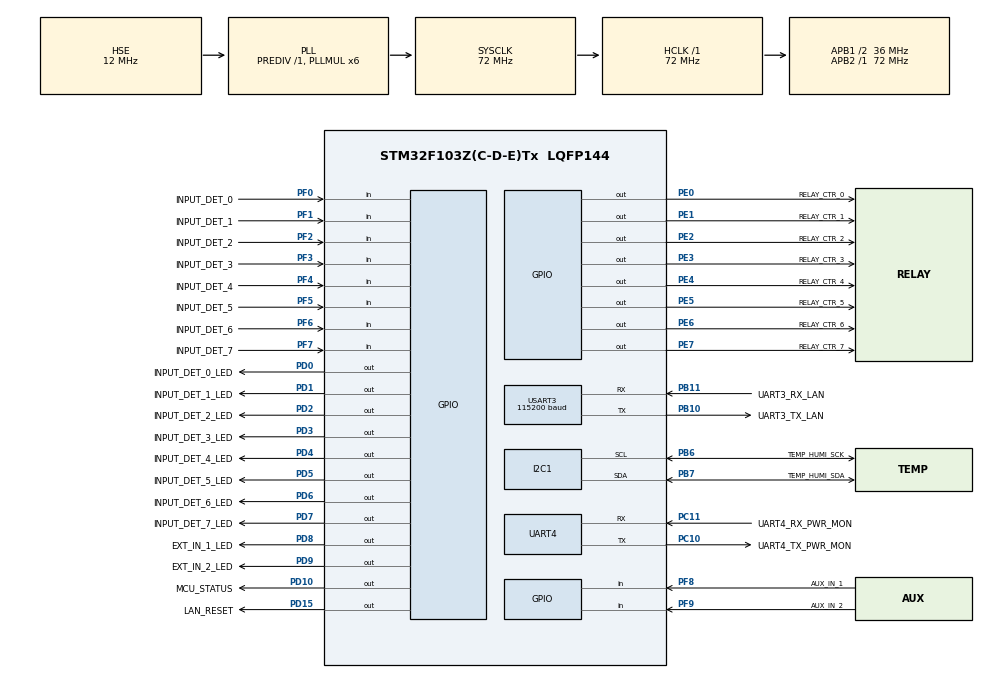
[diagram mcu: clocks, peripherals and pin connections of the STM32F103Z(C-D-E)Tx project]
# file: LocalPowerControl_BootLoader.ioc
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IWDG.Prescaler=IWDG_PRESCALER_256
IWDG.Reload=625
Mcu.Family=STM32F1
Mcu.Name=STM32F103Z(C-D-E)Tx
Mcu.Package=LQFP144
NVIC.PriorityGroup=NVIC_PRIORITYGROUP_4
NVIC.TIM2_IRQn=true\:0\:0\:false\:false\:true\:true\:true
NVIC.UART4_IRQn=true\:0\:0\:false\:false\:true\:true\:true
NVIC.USART3_IRQn=true\:0\:0\:false\:false\:true\:true\:true
OSC_IN.Mode=HSE-External-Oscillator
OSC_IN.Signal=RCC_OSC_IN
OSC_OUT.Mode=HSE-External-Oscillator
OSC_OUT.Signal=RCC_OSC_OUT
PA13.Mode=JTAG_5_pins
PA13.Signal=SYS_JTMS-SWDIO
PA14.Mode=JTAG_5_pins
PA14.Signal=SYS_JTCK-SWCLK
PA15.Mode=JTAG_5_pins
PA15.Signal=SYS_JTDI
PB10.GPIO_Label=UART3_TX_LAN
PB10.Mode=Asynchronous
PB10.Signal=USART3_TX
PB11.GPIO_Label=UART3_RX_LAN
PB11.Mode=Asynchronous
PB11.Signal=USART3_RX
PB3.Mode=JTAG_5_pins
PB3.Signal=SYS_JTDO-TRACESWO
PB4.Mode=JTAG_5_pins
PB4.Signal=SYS_NJTRST
PB6.GPIO_Label=TEMP_HUMI_SCK
PB6.Mode=I2C
PB6.Signal=I2C1_SCL
PB7.GPIO_Label=TEMP_HUMI_SDA
PB7.Mode=I2C
PB7.Signal=I2C1_SDA
PC10.GPIO_Label=UART4_TX_PWR_MON
PC10.Mode=Asynchronous
PC10.Signal=UART4_TX
PC11.GPIO_Label=UART4_RX_PWR_MON
PC11.Mode=Asynchronous
PC11.Signal=UART4_RX
PD0.GPIO_Label=INPUT_DET_0_LED
PD0.Signal=GPIO_Output
PD1.GPIO_Label=INPUT_DET_1_LED
PD1.Signal=GPIO_Output
PD10.GPIO_Label=MCU_STATUS
PD10.Signal=GPIO_Output
PD15.GPIO_Label=LAN_RESET
PD15.Signal=GPIO_Output
PD2.GPIO_Label=INPUT_DET_2_LED
PD2.Signal=GPIO_Output
PD3.GPIO_Label=INPUT_DET_3_LED
PD3.Signal=GPIO_Output
PD4.GPIO_Label=INPUT_DET_4_LED
PD4.Signal=GPIO_Output
PD5.GPIO_Label=INPUT_DET_5_LED
PD5.Signal=GPIO_Output
PD6.GPIO_Label=INPUT_DET_6_LED
PD6.Signal=GPIO_Output
PD7.GPIO_Label=INPUT_DET_7_LED
PD7.Signal=GPIO_Output
PD8.GPIO_Label=EXT_IN_1_LED
PD8.Signal=GPIO_Output
PD9.GPIO_Label=EXT_IN_2_LED
PD9.Signal=GPIO_Output
PE0.GPIO_Label=RELAY_CTR_0
PE0.Signal=GPIO_Output
PE1.GPIO_Label=RELAY_CTR_1
PE1.Signal=GPIO_Output
PE2.GPIO_Label=RELAY_CTR_2
PE2.Signal=GPIO_Output
PE3.GPIO_Label=RELAY_CTR_3
PE3.Signal=GPIO_Output
PE4.GPIO_Label=RELAY_CTR_4
PE4.Signal=GPIO_Output
PE5.GPIO_Label=RELAY_CTR_5
PE5.Signal=GPIO_Output
PE6.GPIO_Label=RELAY_CTR_6
PE6.Signal=GPIO_Output
PE7.GPIO_Label=RELAY_CTR_7
PE7.Signal=GPIO_Output
PF0.GPIO_Label=INPUT_DET_0
PF0.Signal=GPIO_Input
PF1.GPIO_Label=INPUT_DET_1
PF1.Signal=GPIO_Input
PF2.GPIO_Label=INPUT_DET_2
PF2.Signal=GPIO_Input
PF3.GPIO_Label=INPUT_DET_3
PF3.Signal=GPIO_Input
PF4.GPIO_Label=INPUT_DET_4
PF4.Signal=GPIO_Input
PF5.GPIO_Label=INPUT_DET_5
PF5.Signal=GPIO_Input
PF6.GPIO_Label=INPUT_DET_6
PF6.Signal=GPIO_Input
PF7.GPIO_Label=INPUT_DET_7
PF7.Signal=GPIO_Input
PF8.GPIO_Label=AUX_IN_1
PF8.Signal=GPIO_Input
PF9.GPIO_Label=AUX_IN_2
PF9.Signal=GPIO_Input
ProjectManager.HeapSize=0x200
ProjectManager.StackSize=0x400
ProjectManager.TargetToolchain=EWARM V7
RCC.AHBFreq_Value=72000000
RCC.APB1CLKDivider=RCC_HCLK_DIV2
RCC.APB1Freq_Value=36000000
RCC.APB1TimFreq_Value=72000000
RCC.APB2Freq_Value=72000000
RCC.APB2TimFreq_Value=72000000
RCC.HCLKFreq_Value=72000000
RCC.HSE_VALUE=12000000
RCC.PLLMUL=RCC_PLL_MUL6
RCC.PLLSourceVirtual=RCC_PLLSOURCE_HSE
RCC.RCC_MCOSource=RCC_MCO1SOURCE_PLLCLK
RCC.SYSCLKFreq_VALUE=72000000
RCC.SYSCLKSource=RCC_SYSCLKSOURCE_PLLCLK
RCC.USBFreq_Value=72000000
TIM2.AutoReloadPreload=TIM_AUTORELOAD_PRELOAD_DISABLE
TIM2.Period=999
TIM2.Prescaler=72
UART4.VirtualMode=Asynchronous
USART3.BaudRate=115200
USART3.VirtualMode=VM_ASYNC
VP_IWDG_VS_IWDG.Mode=IWDG_Activate
VP_TIM2_VS_ClockSourceINT.Mode=Internal
board=custom

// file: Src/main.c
/* USER CODE BEGIN Header */
/**
  ******************************************************************************
  * @file           : main.c
  * @brief          : Main program body
  ******************************************************************************
  * @attention
  *
  * <h2><center>&copy; Copyright (c) 2019 STMicroelectronics.
  * All rights reserved.</center></h2>
  *
  * This software component is licensed by ST under BSD 3-Clause license,
  * the "License"; You may not use this file except in compliance with the
  * License. You may obtain a copy of the License at:
  *                        opensource.org/licenses/BSD-3-Clause
  *
  ******************************************************************************
  */
/* USER CODE END Header */

#include "main.h"

/* USER CODE BEGIN Includes */
#include "flash_if.h"
#include "eeprom.h"
/* USER CODE END Includes */

I2C_HandleTypeDef hi2c1;

IWDG_HandleTypeDef hiwdg;

TIM_HandleTypeDef htim2;

UART_HandleTypeDef huart4;
UART_HandleTypeDef huart3;

/* USER CODE BEGIN PV */
unsigned int Timer1ms;
unsigned int TimerJumpToApp;
unsigned int TimerRefreshIwdg;
unsigned int TimerInputScan;
unsigned int TimerMcuStatusLed;
unsigned int TimerUart3Parsing;
unsigned int TimeOutValue_JumpToApp;
pFunction JumpToApplication;
unsigned int JumpAddress;
unsigned char McuStatusLedState;
unsigned char Uart3TxBuf[UART3_TX_BUF_SIZE];
unsigned char Uart3RxBuf[UART3_RX_BUF_SIZE];
unsigned short Uart3RxWrCnt;
unsigned short Uart3RxRdCnt;
unsigned char Uart3RxData;
unsigned char Uart3ParsingState;
unsigned short Uart3Cks;
unsigned short Uart3DataLength;
unsigned short Uart3DataCnt;
unsigned char Uart3Cmd;
unsigned char Uart3DataBuf[UART3_DATA_BUF_SIZE];
unsigned char ChannelRelayState;
unsigned char InputScanState;
unsigned int InputOld;
unsigned int InputNow;

const unsigned short Crc16Table[256] = {
	0x0000,0x1021,0x2042,0x3063,0x4084,0x50a5,0x60c6,0x70e7,
	0x8108,0x9129,0xa14a,0xb16b,0xc18c,0xd1ad,0xe1ce,0xf1ef,
	0x1231,0x0210,0x3273,0x2252,0x52b5,0x4294,0x72f7,0x62d6,
	0x9339,0x8318,0xb37b,0xa35a,0xd3bd,0xc39c,0xf3ff,0xe3de,
	0x2462,0x3443,0x0420,0x1401,0x64e6,0x74c7,0x44a4,0x5485,
	0xa56a,0xb54b,0x8528,0x9509,0xe5ee,0xf5cf,0xc5ac,0xd58d,
	0x3653,0x2672,0x1611,0x0630,0x76d7,0x66f6,0x5695,0x46b4,
	0xb75b,0xa77a,0x9719,0x8738,0xf7df,0xe7fe,0xd79d,0xc7bc,
	0x48c4,0x58e5,0x6886,0x78a7,0x0840,0x1861,0x2802,0x3823,
	0xc9cc,0xd9ed,0xe98e,0xf9af,0x8948,0x9969,0xa90a,0xb92b,
	0x5af5,0x4ad4,0x7ab7,0x6a96,0x1a71,0x0a50,0x3a33,0x2a12,
	0xdbfd,0xcbdc,0xfbbf,0xeb9e,0x9b79,0x8b58,0xbb3b,0xab1a,
	0x6ca6,0x7c87,0x4ce4,0x5cc5,0x2c22,0x3c03,0x0c60,0x1c41,
	0xedae,0xfd8f,0xcdec,0xddcd,0xad2a,0xbd0b,0x8d68,0x9d49,
	0x7e97,0x6eb6,0x5ed5,0x4ef4,0x3e13,0x2e32,0x1e51,0x0e70,
	0xff9f,0xefbe,0xdfdd,0xcffc,0xbf1b,0xaf3a,0x9f59,0x8f78,
	0x9188,0x81a9,0xb1ca,0xa1eb,0xd10c,0xc12d,0xf14e,0xe16f,
	0x1080,0x00a1,0x30c2,0x20e3,0x5004,0x4025,0x7046,0x6067,
	0x83b9,0x9398,0xa3fb,0xb3da,0xc33d,0xd31c,0xe37f,0xf35e,
	0x02b1,0x1290,0x22f3,0x32d2,0x4235,0x5214,0x6277,0x7256,
	0xb5ea,0xa5cb,0x95a8,0x8589,0xf56e,0xe54f,0xd52c,0xc50d,
	0x34e2,0x24c3,0x14a0,0x0481,0x7466,0x6447,0x5424,0x4405,
	0xa7db,0xb7fa,0x8799,0x97b8,0xe75f,0xf77e,0xc71d,0xd73c,
	0x26d3,0x36f2,0x0691,0x16b0,0x6657,0x7676,0x4615,0x5634,
	0xd94c,0xc96d,0xf90e,0xe92f,0x99c8,0x89e9,0xb98a,0xa9ab,
	0x5844,0x4865,0x7806,0x6827,0x18c0,0x08e1,0x3882,0x28a3,
	0xcb7d,0xdb5c,0xeb3f,0xfb1e,0x8bf9,0x9bd8,0xabbb,0xbb9a,
	0x4a75,0x5a54,0x6a37,0x7a16,0x0af1,0x1ad0,0x2ab3,0x3a92,
	0xfd2e,0xed0f,0xdd6c,0xcd4d,0xbdaa,0xad8b,0x9de8,0x8dc9,
	0x7c26,0x6c07,0x5c64,0x4c45,0x3ca2,0x2c83,0x1ce0,0x0cc1,
	0xef1f,0xff3e,0xcf5d,0xdf7c,0xaf9b,0xbfba,0x8fd9,0x9ff8,
	0x6e17,0x7e36,0x4e55,0x5e74,0x2e93,0x3eb2,0x0ed1,0x1ef0
};
unsigned short VirtAddVarTab[NB_OF_VAR] = {
	0x0000,0x0001,0x0002,0x0003,0x0004,0x0005,0x0006,0x0007,0x0008,0x0009,0x000A,0x000B,0x000C,0x000D,0x000E,0x000F,	// 00~15 (for BootLoader)
	0x0010,0x0011,0x0012,0x0013,0x0014,0x0015,0x0016,0x0017,0x0018,0x0019,0x001A,0x001B,0x001C,0x001D,0x001E,0x001F,	// 16~31 (for App)
	0x0020,0x0021,0x0022,0x0023,0x0024,0x0025,0x0026,0x0027,0x0028,0x0029,0x002A,0x002B,0x002C,0x002D,0x002E,0x002F,	// 32~47 (for App)
	0x0030,0x0031,0x0032,0x0033,0x0034,0x0035,0x0036,0x0037,0x0038,0x0039,0x003A,0x003B,0x003C,0x003D,0x003E,0x003F,	// 48~63 (for App)
};
unsigned short VarDataTab[NB_OF_VAR] = {
	0x1234,0,0,0,0,RELAY_OFF,0,
};
unsigned short VarValue = 0;
/* USER CODE END PV */

void SystemClock_Config(void);
static void MX_GPIO_Init(void);
static void MX_IWDG_Init(void);
static void MX_UART4_Init(void);
static void MX_USART3_UART_Init(void);
static void MX_I2C1_Init(void);
static void MX_TIM2_Init(void);
/* USER CODE BEGIN PFP */
void Eeprom_Check_Init(void);
unsigned short Eeprom_Read(unsigned short Addr);
unsigned short Eeprom_Write(unsigned short Addr, unsigned short Value);
void JumpToAppMain(void);
void CheckJumpApp(void);
void Channel_Relay_Cont(unsigned char Channel, GPIO_PinState OnOff);
void Refresh_IWDG(void);
void Led_All_Cont(void);
unsigned short Calculation_Crc16(unsigned char*Buf, unsigned int Length);
void Input_Scan(void);
void MCU_Status_Led_Cont(void);
void Send_BoardToPc_WithCks(unsigned char* pBuf, unsigned short Length);
void BoardToPC_AnsReset(void);
void BoardToPC_AnsJumpToApp(void);
void Uart3_Parsing(void);
/* USER CODE END PFP */

/* USER CODE BEGIN 0 */
void HAL_TIM_PeriodElapsedCallback(TIM_HandleTypeDef *htim)
{
	if(TimerJumpToApp)
	{
		TimerJumpToApp--;
	}
	if(TimerRefreshIwdg)
	{
		TimerRefreshIwdg--;
	}
	if(TimerInputScan)
	{
		TimerInputScan--;
	}
	if(TimerMcuStatusLed)
	{
		TimerMcuStatusLed--;
	}
	if(TimerUart3Parsing)
	{
		TimerUart3Parsing--;
	}
	if(Timer1ms)
	{
		Timer1ms--;
		if(Timer1ms==0)
		{
			Timer1ms = 1000;
		}
	}
}

void HAL_UART_RxCpltCallback(UART_HandleTypeDef *huart)
{
	if(huart->Instance==USART3)
	{
		Uart3RxBuf[Uart3RxWrCnt] = Uart3RxData;
		HAL_UART_Receive_IT(&huart3, &Uart3RxData, 1);
		Uart3RxWrCnt++;
		if(Uart3RxWrCnt==UART3_RX_BUF_SIZE)
		{
			Uart3RxWrCnt = 0;
		}
	}
}
/* USER CODE END 0 */

int main(void)
{

  /* MCU Configuration--------------------------------------------------------*/

  /* Reset of all peripherals, Initializes the Flash interface and the Systick. */
  HAL_Init();

  /* Configure the system clock */
  SystemClock_Config();

  /* USER CODE BEGIN SysInit */
	Eeprom_Check_Init();
	if(Eeprom_Read(EEPROM_IDX_UPDATE_RSLT)==0 && Eeprom_Read(EEPROM_IDX_RESET_REQ)==0)
	{
		JumpToAppMain();
	}
  /* USER CODE END SysInit */

  /* Initialize all configured peripherals */
  MX_GPIO_Init();
  MX_IWDG_Init();
  MX_UART4_Init();
  MX_USART3_UART_Init();
  MX_I2C1_Init();
  MX_TIM2_Init();
  /* USER CODE BEGIN 2 */
	HAL_TIM_Base_Start_IT(&htim2);
  	HAL_UART_Receive_IT(&huart3, &Uart3RxData, 1);
	if(Eeprom_Read(EEPROM_IDX_RESET_REQ)==1)	// Reset from App
	{
		TimeOutValue_JumpToApp = Eeprom_Read(EEPROM_IDX_JUMP_TO_APP_TIMEOUT);
		TimeOutValue_JumpToApp *= 1000;
		Eeprom_Write(EEPROM_IDX_JUMP_TO_APP_TIMEOUT, 0);
		Eeprom_Write(EEPROM_IDX_RESET_REQ, 0);
		BoardToPC_AnsReset();
	}
	else	// Emergency Mode
	{
		TimeOutValue_JumpToApp = 1200000;	// 1200 x 1000ms = 20minute
	}
	TimerJumpToApp = TimeOutValue_JumpToApp;
	ChannelRelayState = Eeprom_Read(EEPROM_IDX_CHANNEL_RELAY_STATUS);
	Channel_Relay_Cont(ChannelRelayState, GPIO_PIN_SET);
	Channel_Relay_Cont(~ChannelRelayState, GPIO_PIN_RESET);
	Led_All_Cont();
  /* USER CODE END 2 */

  /* Infinite loop */
  /* USER CODE BEGIN WHILE */
  while (1)
  {
	Refresh_IWDG();
	CheckJumpApp();
	Led_All_Cont();
	Uart3_Parsing();
    /* USER CODE END WHILE */

  }
}

void SystemClock_Config(void)
{
  RCC_OscInitTypeDef RCC_OscInitStruct = {0};
  RCC_ClkInitTypeDef RCC_ClkInitStruct = {0};

  /** Initializes the CPU, AHB and APB busses clocks
  */
  RCC_OscInitStruct.OscillatorType = RCC_OSCILLATORTYPE_LSI|RCC_OSCILLATORTYPE_HSE;
  RCC_OscInitStruct.HSEState = RCC_HSE_ON;
  RCC_OscInitStruct.HSEPredivValue = RCC_HSE_PREDIV_DIV1;
  RCC_OscInitStruct.HSIState = RCC_HSI_ON;
  RCC_OscInitStruct.LSIState = RCC_LSI_ON;
  RCC_OscInitStruct.PLL.PLLState = RCC_PLL_ON;
  RCC_OscInitStruct.PLL.PLLSource = RCC_PLLSOURCE_HSE;
  RCC_OscInitStruct.PLL.PLLMUL = RCC_PLL_MUL6;
  if (HAL_RCC_OscConfig(&RCC_OscInitStruct) != HAL_OK)
  {
    Error_Handler();
  }
  /** Initializes the CPU, AHB and APB busses clocks
  */
  RCC_ClkInitStruct.ClockType = RCC_CLOCKTYPE_HCLK|RCC_CLOCKTYPE_SYSCLK
                              |RCC_CLOCKTYPE_PCLK1|RCC_CLOCKTYPE_PCLK2;
  RCC_ClkInitStruct.SYSCLKSource = RCC_SYSCLKSOURCE_PLLCLK;
  RCC_ClkInitStruct.AHBCLKDivider = RCC_SYSCLK_DIV1;
  RCC_ClkInitStruct.APB1CLKDivider = RCC_HCLK_DIV2;
  RCC_ClkInitStruct.APB2CLKDivider = RCC_HCLK_DIV1;

  if (HAL_RCC_ClockConfig(&RCC_ClkInitStruct, FLASH_LATENCY_2) != HAL_OK)
  {
    Error_Handler();
  }
}

static void MX_I2C1_Init(void)
{

  hi2c1.Instance = I2C1;
  hi2c1.Init.ClockSpeed = 100000;
  hi2c1.Init.DutyCycle = I2C_DUTYCYCLE_2;
  hi2c1.Init.OwnAddress1 = 0;
  hi2c1.Init.AddressingMode = I2C_ADDRESSINGMODE_7BIT;
  hi2c1.Init.DualAddressMode = I2C_DUALADDRESS_DISABLE;
  hi2c1.Init.OwnAddress2 = 0;
  hi2c1.Init.GeneralCallMode = I2C_GENERALCALL_DISABLE;
  hi2c1.Init.NoStretchMode = I2C_NOSTRETCH_DISABLE;
  if (HAL_I2C_Init(&hi2c1) != HAL_OK)
  {
    Error_Handler();
  }

}

static void MX_IWDG_Init(void)
{

  hiwdg.Instance = IWDG;
  hiwdg.Init.Prescaler = IWDG_PRESCALER_256;
  hiwdg.Init.Reload = 625;
  if (HAL_IWDG_Init(&hiwdg) != HAL_OK)
  {
    Error_Handler();
  }

}

static void MX_TIM2_Init(void)
{

  TIM_ClockConfigTypeDef sClockSourceConfig = {0};
  TIM_MasterConfigTypeDef sMasterConfig = {0};

  htim2.Instance = TIM2;
  htim2.Init.Prescaler = 72;
  htim2.Init.CounterMode = TIM_COUNTERMODE_UP;
  htim2.Init.Period = 999;
  htim2.Init.ClockDivision = TIM_CLOCKDIVISION_DIV1;
  htim2.Init.AutoReloadPreload = TIM_AUTORELOAD_PRELOAD_DISABLE;
  if (HAL_TIM_Base_Init(&htim2) != HAL_OK)
  {
    Error_Handler();
  }
  sClockSourceConfig.ClockSource = TIM_CLOCKSOURCE_INTERNAL;
  if (HAL_TIM_ConfigClockSource(&htim2, &sClockSourceConfig) != HAL_OK)
  {
    Error_Handler();
  }
  sMasterConfig.MasterOutputTrigger = TIM_TRGO_RESET;
  sMasterConfig.MasterSlaveMode = TIM_MASTERSLAVEMODE_DISABLE;
  if (HAL_TIMEx_MasterConfigSynchronization(&htim2, &sMasterConfig) != HAL_OK)
  {
    Error_Handler();
  }

}

static void MX_UART4_Init(void)
{

  huart4.Instance = UART4;
  huart4.Init.BaudRate = 115200;
  huart4.Init.WordLength = UART_WORDLENGTH_8B;
  huart4.Init.StopBits = UART_STOPBITS_1;
  huart4.Init.Parity = UART_PARITY_NONE;
  huart4.Init.Mode = UART_MODE_TX_RX;
  huart4.Init.HwFlowCtl = UART_HWCONTROL_NONE;
  huart4.Init.OverSampling = UART_OVERSAMPLING_16;
  if (HAL_UART_Init(&huart4) != HAL_OK)
  {
    Error_Handler();
  }

}

static void MX_USART3_UART_Init(void)
{

  huart3.Instance = USART3;
  huart3.Init.BaudRate = 115200;
  huart3.Init.WordLength = UART_WORDLENGTH_8B;
  huart3.Init.StopBits = UART_STOPBITS_1;
  huart3.Init.Parity = UART_PARITY_NONE;
  huart3.Init.Mode = UART_MODE_TX_RX;
  huart3.Init.HwFlowCtl = UART_HWCONTROL_NONE;
  huart3.Init.OverSampling = UART_OVERSAMPLING_16;
  if (HAL_UART_Init(&huart3) != HAL_OK)
  {
    Error_Handler();
  }

}

static void MX_GPIO_Init(void)
{
  GPIO_InitTypeDef GPIO_InitStruct = {0};

  /* GPIO Ports Clock Enable */
  __HAL_RCC_GPIOE_CLK_ENABLE();
  __HAL_RCC_GPIOC_CLK_ENABLE();
  __HAL_RCC_GPIOF_CLK_ENABLE();
  __HAL_RCC_GPIOA_CLK_ENABLE();
  __HAL_RCC_GPIOB_CLK_ENABLE();
  __HAL_RCC_GPIOG_CLK_ENABLE();
  __HAL_RCC_GPIOD_CLK_ENABLE();

  /*Configure GPIO pin Output Level */
  HAL_GPIO_WritePin(GPIOE, RELAY_CTR_2_Pin|RELAY_CTR_3_Pin|RELAY_CTR_4_Pin|RELAY_CTR_5_Pin
                          |RELAY_CTR_6_Pin|RELAY_CTR_7_Pin|RELAY_CTR_0_Pin|RELAY_CTR_1_Pin, GPIO_PIN_RESET);

  /*Configure GPIO pin Output Level */
  HAL_GPIO_WritePin(GPIOD, EXT_IN_1_LED_Pin|EXT_IN_2_LED_Pin|MCU_STATUS_Pin|LAN_RESET_Pin
                          |INPUT_DET_0_LED_Pin|INPUT_DET_1_LED_Pin|INPUT_DET_2_LED_Pin|INPUT_DET_3_LED_Pin
                          |INPUT_DET_4_LED_Pin|INPUT_DET_5_LED_Pin|INPUT_DET_6_LED_Pin|INPUT_DET_7_LED_Pin, GPIO_PIN_RESET);

  /*Configure GPIO pins : RELAY_CTR_2_Pin RELAY_CTR_3_Pin RELAY_CTR_4_Pin RELAY_CTR_5_Pin
                           RELAY_CTR_6_Pin RELAY_CTR_7_Pin RELAY_CTR_0_Pin RELAY_CTR_1_Pin */
  GPIO_InitStruct.Pin = RELAY_CTR_2_Pin|RELAY_CTR_3_Pin|RELAY_CTR_4_Pin|RELAY_CTR_5_Pin
                          |RELAY_CTR_6_Pin|RELAY_CTR_7_Pin|RELAY_CTR_0_Pin|RELAY_CTR_1_Pin;
  GPIO_InitStruct.Mode = GPIO_MODE_OUTPUT_PP;
  GPIO_InitStruct.Pull = GPIO_NOPULL;
  GPIO_InitStruct.Speed = GPIO_SPEED_FREQ_LOW;
  HAL_GPIO_Init(GPIOE, &GPIO_InitStruct);

  /*Configure GPIO pins : PC13 PC14 PC15 PC0
                           PC1 PC2 PC3 PC4
                           PC5 PC6 PC7 PC8
                           PC9 PC12 */
  GPIO_InitStruct.Pin = GPIO_PIN_13|GPIO_PIN_14|GPIO_PIN_15|GPIO_PIN_0
                          |GPIO_PIN_1|GPIO_PIN_2|GPIO_PIN_3|GPIO_PIN_4
                          |GPIO_PIN_5|GPIO_PIN_6|GPIO_PIN_7|GPIO_PIN_8
                          |GPIO_PIN_9|GPIO_PIN_12;
  GPIO_InitStruct.Mode = GPIO_MODE_ANALOG;
  HAL_GPIO_Init(GPIOC, &GPIO_InitStruct);

  /*Configure GPIO pins : INPUT_DET_0_Pin INPUT_DET_1_Pin INPUT_DET_2_Pin INPUT_DET_3_Pin
                           INPUT_DET_4_Pin INPUT_DET_5_Pin INPUT_DET_6_Pin INPUT_DET_7_Pin
                           AUX_IN_1_Pin AUX_IN_2_Pin */
  GPIO_InitStruct.Pin = INPUT_DET_0_Pin|INPUT_DET_1_Pin|INPUT_DET_2_Pin|INPUT_DET_3_Pin
                          |INPUT_DET_4_Pin|INPUT_DET_5_Pin|INPUT_DET_6_Pin|INPUT_DET_7_Pin
                          |AUX_IN_1_Pin|AUX_IN_2_Pin;
  GPIO_InitStruct.Mode = GPIO_MODE_INPUT;
  GPIO_InitStruct.Pull = GPIO_NOPULL;
  HAL_GPIO_Init(GPIOF, &GPIO_InitStruct);

  /*Configure GPIO pins : PF10 PF11 PF12 PF13
                           PF14 PF15 */
  GPIO_InitStruct.Pin = GPIO_PIN_10|GPIO_PIN_11|GPIO_PIN_12|GPIO_PIN_13
                          |GPIO_PIN_14|GPIO_PIN_15;
  GPIO_InitStruct.Mode = GPIO_MODE_ANALOG;
  HAL_GPIO_Init(GPIOF, &GPIO_InitStruct);

  /*Configure GPIO pins : PA0 PA1 PA2 PA3
                           PA4 PA5 PA6 PA7
                           PA8 PA9 PA10 PA11
                           PA12 */
  GPIO_InitStruct.Pin = GPIO_PIN_0|GPIO_PIN_1|GPIO_PIN_2|GPIO_PIN_3
                          |GPIO_PIN_4|GPIO_PIN_5|GPIO_PIN_6|GPIO_PIN_7
                          |GPIO_PIN_8|GPIO_PIN_9|GPIO_PIN_10|GPIO_PIN_11
                          |GPIO_PIN_12;
  GPIO_InitStruct.Mode = GPIO_MODE_ANALOG;
  HAL_GPIO_Init(GPIOA, &GPIO_InitStruct);

  /*Configure GPIO pins : PB0 PB1 PB2 PB12
                           PB13 PB14 PB15 PB5
                           PB8 PB9 */
  GPIO_InitStruct.Pin = GPIO_PIN_0|GPIO_PIN_1|GPIO_PIN_2|GPIO_PIN_12
                          |GPIO_PIN_13|GPIO_PIN_14|GPIO_PIN_15|GPIO_PIN_5
                          |GPIO_PIN_8|GPIO_PIN_9;
  GPIO_InitStruct.Mode = GPIO_MODE_ANALOG;
  HAL_GPIO_Init(GPIOB, &GPIO_InitStruct);

  /*Configure GPIO pins : PG0 PG1 PG2 PG3
                           PG4 PG5 PG6 PG7
                           PG8 PG9 PG10 PG11
                           PG12 PG13 PG14 PG15 */
  GPIO_InitStruct.Pin = GPIO_PIN_0|GPIO_PIN_1|GPIO_PIN_2|GPIO_PIN_3
                          |GPIO_PIN_4|GPIO_PIN_5|GPIO_PIN_6|GPIO_PIN_7
                          |GPIO_PIN_8|GPIO_PIN_9|GPIO_PIN_10|GPIO_PIN_11
                          |GPIO_PIN_12|GPIO_PIN_13|GPIO_PIN_14|GPIO_PIN_15;
  GPIO_InitStruct.Mode = GPIO_MODE_ANALOG;
  HAL_GPIO_Init(GPIOG, &GPIO_InitStruct);

  /*Configure GPIO pins : PE8 PE9 PE10 PE11
                           PE12 PE13 PE14 PE15 */
  GPIO_InitStruct.Pin = GPIO_PIN_8|GPIO_PIN_9|GPIO_PIN_10|GPIO_PIN_11
                          |GPIO_PIN_12|GPIO_PIN_13|GPIO_PIN_14|GPIO_PIN_15;
  GPIO_InitStruct.Mode = GPIO_MODE_ANALOG;
  HAL_GPIO_Init(GPIOE, &GPIO_InitStruct);

  /*Configure GPIO pins : EXT_IN_1_LED_Pin EXT_IN_2_LED_Pin MCU_STATUS_Pin LAN_RESET_Pin
                           INPUT_DET_0_LED_Pin INPUT_DET_1_LED_Pin INPUT_DET_2_LED_Pin INPUT_DET_3_LED_Pin
                           INPUT_DET_4_LED_Pin INPUT_DET_5_LED_Pin INPUT_DET_6_LED_Pin INPUT_DET_7_LED_Pin */
  GPIO_InitStruct.Pin = EXT_IN_1_LED_Pin|EXT_IN_2_LED_Pin|MCU_STATUS_Pin|LAN_RESET_Pin
                          |INPUT_DET_0_LED_Pin|INPUT_DET_1_LED_Pin|INPUT_DET_2_LED_Pin|INPUT_DET_3_LED_Pin
                          |INPUT_DET_4_LED_Pin|INPUT_DET_5_LED_Pin|INPUT_DET_6_LED_Pin|INPUT_DET_7_LED_Pin;
  GPIO_InitStruct.Mode = GPIO_MODE_OUTPUT_PP;
  GPIO_InitStruct.Pull = GPIO_NOPULL;
  GPIO_InitStruct.Speed = GPIO_SPEED_FREQ_LOW;
  HAL_GPIO_Init(GPIOD, &GPIO_InitStruct);

  /*Configure GPIO pins : PD11 PD12 PD13 PD14 */
  GPIO_InitStruct.Pin = GPIO_PIN_11|GPIO_PIN_12|GPIO_PIN_13|GPIO_PIN_14;
  GPIO_InitStruct.Mode = GPIO_MODE_ANALOG;
  HAL_GPIO_Init(GPIOD, &GPIO_InitStruct);

}

/* USER CODE BEGIN 4 */
void Eeprom_Check_Init(void)
{
	unsigned char Cnt = 0;
	unsigned short Ret = 0;

	HAL_FLASH_Unlock();
	EE_Init();
	Ret = EE_ReadVariable(EEPROM_IDX_EEPROM_INIT_FLAG, &VarValue);	// EEPROM Addr0 is for EEPROM Initialization
	switch(Ret)
	{
		case 0x0000:	// Variable was found
			if(VarValue != 0x1234)	// EEPROM Address is not initialized
			{	// Initialize EEPROM Address
				for(Cnt=0; Cnt<NB_OF_VAR; Cnt++)
				{
					Eeprom_Write(Cnt, VarDataTab[Cnt]);
				}
			}
			break;
		case 0x0001:	// Variable was not found
			for(Cnt=0; Cnt<NB_OF_VAR; Cnt++)
			{	// Initialize EEPROM Address
				Eeprom_Write(Cnt, VarDataTab[Cnt]);
			}
			break;
		case NO_VALID_PAGE:
			break;
	}
}

unsigned short Eeprom_Read(unsigned short Addr)
{
	unsigned short Val;

	EE_ReadVariable(Addr, &Val);
	return Val;
}

unsigned short Eeprom_Write(unsigned short Addr, unsigned short Value)
{
	unsigned short Ret = 0;

	if(Eeprom_Read(Addr) != Value)
	{
		HAL_FLASH_Unlock();
		Ret = EE_WriteVariable(Addr, Value);
		HAL_FLASH_Lock();
	}

	return Ret;
}

void JumpToAppMain(void)
{
	/* Jump to user application */
	JumpAddress = *(__IO uint32_t*) (APP_MAIN_ADDR+ 4);
	JumpToApplication = (pFunction) JumpAddress;
	/* Initialize user application's Stack Pointer */
	__set_MSP(*(__IO uint32_t*)APP_MAIN_ADDR);
	JumpToApplication();
}

void CheckJumpApp(void)
{
	if(TimerJumpToApp==0)
	{
		JumpToAppMain();
	}
}

void Channel_Relay_Cont(unsigned char Channel, GPIO_PinState OnOff)
{
	if(OnOff==RELAY_ON)	// Channel Power On(Relay Off)
	{
		HAL_GPIO_WritePin(RELAY_CTR_0_GPIO_Port, Channel, GPIO_PIN_RESET);
	}
	else	// Channel Power Off(Relay On)
	{
		HAL_GPIO_WritePin(RELAY_CTR_0_GPIO_Port, Channel, GPIO_PIN_SET);
	}
}

void Led_Cont(unsigned char Led, GPIO_PinState OnOff)
{
	HAL_GPIO_WritePin(INPUT_DET_0_LED_GPIO_Port, Led, OnOff);
}

void Refresh_IWDG(void)
{
	if(TimerRefreshIwdg==0)
	{
		HAL_IWDG_Refresh(&hiwdg);
		TimerRefreshIwdg = REFRESH_IWDG_TIMEOUT;
	}
}

void Led_All_Cont(void)
{
	if(TimerMcuStatusLed==0)
	{
		if(McuStatusLedState==0)
		{
			HAL_GPIO_WritePin(MCU_STATUS_GPIO_Port, MCU_STATUS_Pin, GPIO_PIN_SET);
			McuStatusLedState = 1;
		}
		else
		{
			HAL_GPIO_WritePin(MCU_STATUS_GPIO_Port, MCU_STATUS_Pin, GPIO_PIN_RESET);
			McuStatusLedState = 0;
		}
		TimerMcuStatusLed = 250;
	}
}

unsigned short Calculation_Crc16(unsigned char*Buf, unsigned int Length)
{
	unsigned int Cnt;
	unsigned short Crc = 0;

	for( Cnt = 0; Cnt < Length; Cnt++)
	{
		Crc = (Crc<<8) ^ Crc16Table[((Crc>>8) ^ *Buf)&0x00FF];
		Buf++;
	}

	return Crc;
}

void Send_BoardToPc_WithCks(unsigned char* pBuf, unsigned short Length)
{
	unsigned short Cnt = 0;
	unsigned short CheckSum = 0;

	pBuf[0] = STX_BOARD_TO_PC;
	pBuf[1] = PC_ADDR;
	pBuf[2] = BOARD_ADDR;
	*(unsigned short*)(pBuf+3) = Length;
	for(Cnt=0; Cnt<(Length+6); Cnt++)
	{
		CheckSum += pBuf[Cnt];
	}
	*(unsigned short*)(pBuf+Length+6) = CheckSum;
	pBuf[Length+8] = END_BOARD_TO_PC;

	HAL_UART_Transmit(&huart3, pBuf, Length+9, 100);
}

void BoardToPC_AnsReset(void)
{
	Uart3TxBuf[5] = BOARD_TO_PC_ANS_RESET;
	Uart3TxBuf[6] = 0;
	Send_BoardToPc_WithCks(Uart3TxBuf, 1);
}

void Uart3_Parsing(void)
{
	if(Uart3RxRdCnt != Uart3RxWrCnt)
	{
		unsigned char Rx3Data = 0;

		Rx3Data = Uart3RxBuf[Uart3RxRdCnt];
		switch(Uart3ParsingState)
		{
			case 0:	// STX
				if(Rx3Data==0x7E)
				{
					Uart3Cks = 0;
					Uart3Cks += Rx3Data;
					Uart3ParsingState++;
					TimerUart3Parsing = UART3_PARSING_TIMEOUT;
				}
				break;
			case 1:	// DA(Destination Addr)
				if(Rx3Data==BOARD_ADDR)
				{
					Uart3Cks += Rx3Data;
					Uart3ParsingState++;
					TimerUart3Parsing = UART3_PARSING_TIMEOUT;
				}
				else
				{
					Uart3ParsingState = 0;
					TimerUart3Parsing = 0;
				}
				break;
			case 2:	// SA(Source Addr)
				if(Rx3Data==PC_ADDR)
				{
					Uart3Cks += Rx3Data;
					Uart3ParsingState++;
					TimerUart3Parsing = UART3_PARSING_TIMEOUT;
				}
				else
				{
					Uart3ParsingState = 0;
					TimerUart3Parsing = 0;
				}
				break;
			case 3:	// Length(LSB)
				Uart3DataLength = Rx3Data;
				Uart3Cks += Rx3Data;
				Uart3ParsingState++;
				TimerUart3Parsing = UART3_PARSING_TIMEOUT;
				break;
			case 4:	// Length(MSB)
				Uart3DataLength |= (unsigned short)Rx3Data << 8;
				Uart3Cks += Rx3Data;
				Uart3ParsingState++;
				TimerUart3Parsing = UART3_PARSING_TIMEOUT;
				break;
			case 5:	// Cmd
				if(Rx3Data >= 0xA0 && Rx3Data <= 0xAF)
				{
					Uart3Cmd = Rx3Data;
					Uart3DataCnt = 0;
					Uart3Cks += Rx3Data;
					Uart3ParsingState++;
					TimerUart3Parsing = UART3_PARSING_TIMEOUT;
				}
				else
				{
					Uart3ParsingState = 0;
					TimerUart3Parsing = 0;
				}
				break;
			case 6:	// Data
				Uart3DataBuf[Uart3DataCnt] = Rx3Data;
				Uart3Cks += Rx3Data;
				Uart3DataCnt++;
				if(Uart3DataCnt==Uart3DataLength)
				{
					Uart3DataCnt = 0;
					Uart3ParsingState++;
				}
				TimerUart3Parsing = UART3_PARSING_TIMEOUT;
				break;
			case 7:	// CheckSum(LSB)
				if(Rx3Data==(Uart3Cks & 0x00FF))
				{
					Uart3ParsingState++;
					TimerUart3Parsing = UART3_PARSING_TIMEOUT;
				}
				else
				{
					Uart3ParsingState = 0;
					TimerUart3Parsing = 0;
				}
				break;
			case 8:	// CheckSum(MSB)
				if(Rx3Data==(Uart3Cks >> 8))
				{
					Uart3ParsingState++;
					TimerUart3Parsing = UART3_PARSING_TIMEOUT;
				}
				else
				{
					Uart3ParsingState = 0;
					TimerUart3Parsing = 0;
				}
				break;
			case 9:	// End
				if(Rx3Data == 0x81)
				{
					unsigned short Crc16 = 0;
					unsigned int PageAddr;
					unsigned char Cnt = 0;
					unsigned int SourcePageAddr;

					switch(Uart3Cmd)
					{
						case PC_TO_BOARD_REQ_VER:
							Uart3TxBuf[5] = BOARD_TO_PC_ANS_VER;
							*(unsigned short*)(Uart3TxBuf+6) = *(unsigned short*)(0x08007800+8);
							Uart3TxBuf[8] = 0;	// BootLoader Mode
							Send_BoardToPc_WithCks(Uart3TxBuf, 3);
							break;
						case PC_TO_BOARD_REQ_RESET:
							Eeprom_Write(EEPROM_IDX_RESET_REQ, 1);
							Eeprom_Write(EEPROM_IDX_JUMP_TO_APP_TIMEOUT, *(unsigned short*)Uart3DataBuf);
							HAL_NVIC_SystemReset();
							break;
						case PC_TO_BOARD_REQ_ERASE_PAGE:
							Uart3TxBuf[5] = BOARD_TO_PC_ANS_ERASE_PAGE;
							if(Uart3DataBuf[0] > 13)	// BootLoader page is from 0 to 13
							{
								Refresh_IWDG();
								if(FLASH_If_Erase(0x08000000+2048*Uart3DataBuf[0], Uart3DataBuf[1])==FLASHIF_OK)
								{
									Uart3TxBuf[6] = 0;	// OK
								}
								else
								{
									Uart3TxBuf[6] = 1;	// Error
								}
							}
							else
							{
								Uart3TxBuf[6] = 2;	// Error
							}
							Send_BoardToPc_WithCks(Uart3TxBuf, 1);
							break;
						case PC_TO_BOARD_REQ_WRITE_PAGE:
							Uart3TxBuf[5] = BOARD_TO_PC_ANS_WRITE_PAGE;
							if(Uart3DataLength==2051)
							{
								Crc16 = Calculation_Crc16(Uart3DataBuf+1, 2048);
								if(Crc16==*(unsigned short*)(Uart3DataBuf+1+2048))
								{
									PageAddr = 0x08000000+2048*Uart3DataBuf[0];
									Refresh_IWDG();
									if(FLASH_If_Write(PageAddr, (uint32_t*)(Uart3DataBuf+1), 2048/4)==FLASHIF_OK)
									{
										Crc16 = Calculation_Crc16((unsigned char*)PageAddr, 2048);
										if(Crc16==*(unsigned short*)(Uart3DataBuf+1+2048))
										{
											Uart3TxBuf[6] = 0;	// OK!
										}
										else
										{
											Uart3TxBuf[6] = 1;	// Crc16 Error of 2ritten data
										}
									}
									else
									{
										Uart3TxBuf[6] = 2;	// Write Error
									}
								}
								else
								{
									Uart3TxBuf[6] = 3;	// Crc16 Error of received data
								}
							}
							else
							{
								Uart3TxBuf[6] = 4;	// received data Error
							}
							Uart3TxBuf[5] = BOARD_TO_PC_ANS_SET_EACH_CHANNEL_RELAY;
							Uart3TxBuf[6] = 0;
							Send_BoardToPc_WithCks(Uart3TxBuf, 1);
							break;
						case PC_TO_BOARD_REQ_START_UPDATE:
							Uart3TxBuf[5] = BOARD_TO_PC_ANS_START_UPDATE;
							if(Uart3DataBuf[1] > 13)	// Page 0~13 is for BootLoader
							{
								PageAddr = 0x08000000+2048*Uart3DataBuf[0];	// Address of downloaded page
								Crc16 = Calculation_Crc16((unsigned char*)PageAddr, 2048*Uart3DataBuf[2]);
								if(Crc16==*(unsigned short*)(Uart3DataBuf+3))	// Checksum of all binary in update data
								{
									Refresh_IWDG();
									Eeprom_Write(EEPROM_IDX_UPDATE_RSLT, 1);	// Set update fail in default
									if(FLASH_If_Erase(0x08000000+2048*Uart3DataBuf[1], Uart3DataBuf[2])==FLASHIF_OK)
									{
										for(Cnt=0; Cnt<Uart3DataBuf[2]; Cnt++)
										{
											PageAddr = 0x08000000+2048*(Uart3DataBuf[1]+Cnt);	// Destination page(App)
											SourcePageAddr = 0x08000000+2048*(Uart3DataBuf[0]+Cnt);
											if(FLASH_If_Write(PageAddr, (unsigned int*)SourcePageAddr, 2048/4) != FLASHIF_OK)
											{
												Uart3TxBuf[6] = 1;	// Write Error
												break;
											}
										}
										if(Cnt==Uart3DataBuf[2])	// Write All
										{
											PageAddr = 0x08000000+2048*Uart3DataBuf[1];	// Address of updated page
											Crc16 = Calculation_Crc16((unsigned char*)PageAddr, 2048*Uart3DataBuf[2]);
											if(Crc16==*(unsigned short*)(Uart3DataBuf+3))
											{
												Eeprom_Write(EEPROM_IDX_UPDATE_RSLT, 0);	// Update Result is OK!
												Uart3TxBuf[6] = 0;	// OK!
											}
											else
											{
												Uart3TxBuf[6] = 2;	// Crc16 Error of updated data
											}
										}
									}
									else
									{
										Uart3TxBuf[6] = 3;	// Erase Error
									}
								}
								else
								{
									Uart3TxBuf[6] = 4;	// Crc16 Error of downloaded data
								}
							}
							else
							{
								Uart3TxBuf[6] = 5;	// Page Error!
							}
							Send_BoardToPc_WithCks(Uart3TxBuf, 1);
							break;
						case PC_TO_BOARD_REQ_JUMP_TO_APP:
							Eeprom_Write(EEPROM_IDX_JUMP_REQ, 1);
							JumpToAppMain();
							break;
					}
				}
				Uart3ParsingState = 0;
				TimerUart3Parsing = 0;
				break;
		}
		Uart3RxRdCnt++;
		if(Uart3RxRdCnt==UART3_RX_BUF_SIZE)
		{
			Uart3RxRdCnt = 0;
		}
	}
	if(TimerUart3Parsing==0)
	{
		if(Uart3ParsingState != 0)
		{
			Uart3ParsingState = 0;
		}
	}
}
/* USER CODE END 4 */

void Error_Handler(void)
{
}

/************************ (C) COPYRIGHT STMicroelectronics *****END OF FILE****/
